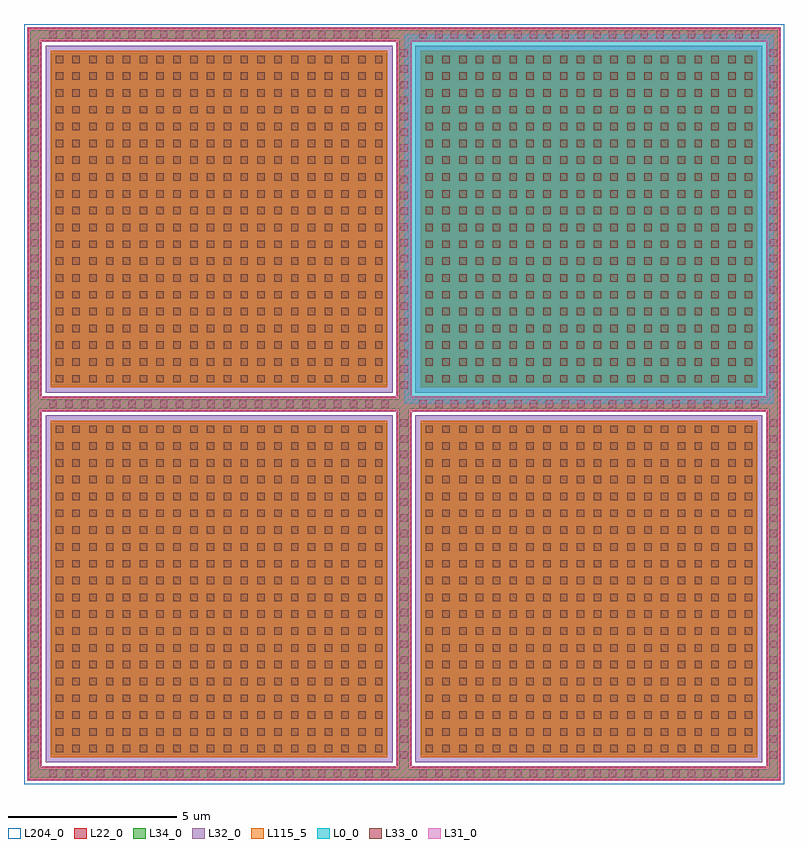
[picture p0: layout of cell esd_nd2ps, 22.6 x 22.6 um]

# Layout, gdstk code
import gdstk
lib = gdstk.Library(unit=1e-6, precision=1e-09)
def R(c, l, rs):  # rectangles x0, y0, x1, y1
    for r in rs: c.add(gdstk.rectangle(r[:2], r[2:], *l))
def A(c, l, x, y, w, h, nx, ny, dx, dy):  # array of equal rectangles
    R(c, l, [(x+i*dx, y+j*dy, x+i*dx+w, y+j*dy+h) for i in range(nx) for j in range(ny)])
L0_0 = (0, 0)
L22_0 = (22, 0)
L31_0 = (31, 0)
L32_0 = (32, 0)
L33_0 = (33, 0)
L34_0 = (34, 0)
L115_5 = (115, 5)
L204_0 = (204, 0)

esd_nd2ps = lib.new_cell('esd_nd2ps')
R(esd_nd2ps, L0_0, [(0.01,0.01,10.99,10.99)])
R(esd_nd2ps, L22_0, [(-11.18,-11.18,11.18,-10.8), (-11.18,-10.8,-10.8,-0.2), (-0.2,-10.8,0.2,-0.2), (10.8,-10.8,11.18,-0.2), (-10.5,-10.5,-0.5,-0.5), (0.5,-10.5,10.5,-0.5), (-11.18,-0.2,11.18,0.2), (-11.18,0.2,-10.8,10.8), (-0.2,0.2,0.2,10.8), (10.8,0.2,11.18,10.8), (-10.5,0.5,-0.5,10.5), (0.5,0.5,10.5,10.5), (-11.18,10.8,11.18,11.18)])
R(esd_nd2ps, L31_0, [(-10.675,-11.21,-0.325,-11.2), (0.325,-11.21,10.675,-11.2), (-11.2,-11.2,11.2,-10.77), (-11.2,-10.77,-10.77,-10.675), (-0.23,-10.77,0.23,-0.23), (10.77,-10.77,11.2,-10.675), (-11.21,-10.675,-10.77,-0.325), (10.77,-10.675,11.21,-0.325), (-11.2,-0.325,-10.77,-0.23), (10.77,-0.325,11.2,-0.23), (-11.2,-0.23,11.2,0.23), (-11.2,0.23,-10.77,0.325), (-0.23,0.23,0.23,10.77), (10.77,0.23,11.2,0.325), (-11.21,0.325,-10.77,10.675), (10.77,0.325,11.21,10.675), (-11.2,10.675,-10.77,10.77), (10.77,10.675,11.2,10.77), (-11.2,10.77,11.2,11.2), (-10.675,11.2,-0.325,11.21), (0.325,11.2,10.675,11.21)])
R(esd_nd2ps, L32_0, [(-10.66,-10.66,-0.34,-0.34), (0.34,-10.66,10.66,-0.34), (-10.66,0.34,-0.34,10.66), (0.34,0.34,10.66,10.66)])
A(esd_nd2ps, L33_0, -10.545, -11.1, 0.22, 0.22, 22, 3, 0.47, 10.99)
A(esd_nd2ps, L33_0, 0.455, -11.1, 0.22, 0.22, 22, 3, 0.47, 10.99)
A(esd_nd2ps, L33_0, -11.1, -10.545, 0.22, 0.22, 3, 22, 10.99, 0.47)
A(esd_nd2ps, L33_0, -10.36, -10.36, 0.22, 0.22, 20, 20, 0.5, 0.5)
A(esd_nd2ps, L33_0, 0.64, -10.36, 0.22, 0.22, 20, 20, 0.5, 0.5)
A(esd_nd2ps, L33_0, -11.1, 0.455, 0.22, 0.22, 3, 22, 10.99, 0.47)
A(esd_nd2ps, L33_0, -10.36, 0.64, 0.22, 0.22, 20, 20, 0.5, 0.5)
A(esd_nd2ps, L33_0, 0.64, 0.64, 0.22, 0.22, 20, 20, 0.5, 0.5)
R(esd_nd2ps, L34_0, [(-11.115,-11.115,11.115,-10.865), (-11.115,-10.865,-10.865,-0.135), (-0.135,-10.865,0.135,-0.135), (10.865,-10.865,11.115,-0.135), (-10.49,-10.435,-0.51,-0.565), (0.51,-10.435,10.49,-0.565), (-11.115,-0.135,11.115,0.135), (-11.115,0.135,-10.865,10.865), (-0.135,0.135,0.135,10.865), (10.865,0.135,11.115,10.865), (-10.49,0.565,-0.51,10.435), (0.51,0.565,10.49,10.435), (-11.115,10.865,11.115,11.115)])
R(esd_nd2ps, L115_5, [(-10.5,-10.5,-0.5,-0.5), (0.5,-10.5,10.5,-0.5), (-10.5,0.5,-0.5,10.5), (0.5,0.5,10.5,10.5)])
R(esd_nd2ps, L204_0, [(-11.3,-11.3,11.3,11.3)])

lib.write_gds('esd_nd2ps.gds')
